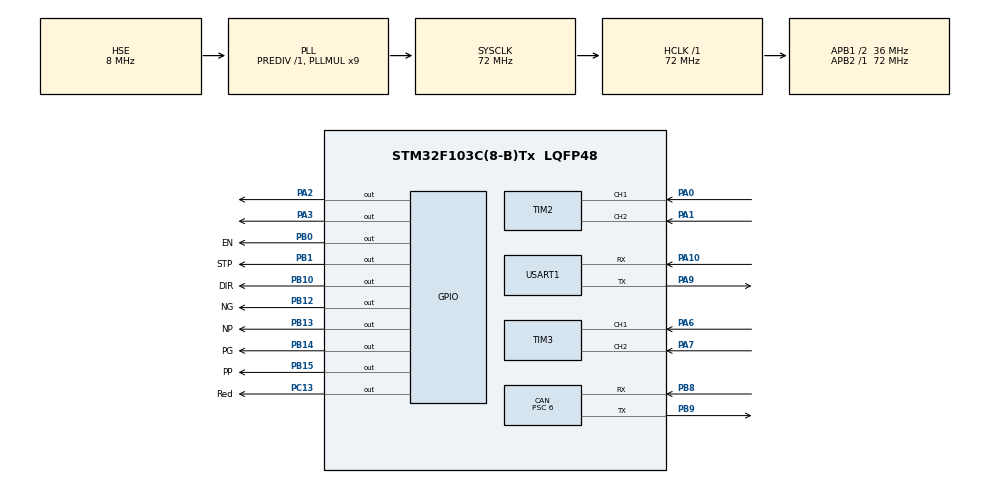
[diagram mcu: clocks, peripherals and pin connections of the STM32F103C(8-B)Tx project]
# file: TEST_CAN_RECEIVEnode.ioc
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CAN.BS1=CAN_BS1_2TQ
CAN.BS2=CAN_BS2_3TQ
CAN.CalculateBaudRate=999999
CAN.CalculateTimeBit=1000
CAN.CalculateTimeQuantum=166.66666666666669
CAN.NART=DISABLE
CAN.Prescaler=6
Mcu.Family=STM32F1
Mcu.Name=STM32F103C(8-B)Tx
Mcu.Package=LQFP48
NVIC.PriorityGroup=NVIC_PRIORITYGROUP_0
NVIC.TIM1_UP_IRQn=true\:0\:0\:false\:false\:true\:true\:true\:true
NVIC.TIM2_IRQn=true\:0\:0\:false\:false\:true\:true\:true\:true
NVIC.TIM3_IRQn=true\:0\:0\:false\:false\:true\:true\:true\:true
NVIC.USART1_IRQn=true\:0\:0\:false\:false\:true\:true\:true\:true
NVIC.USB_LP_CAN1_RX0_IRQn=true\:0\:0\:false\:false\:true\:true\:true\:true
PA0-WKUP.GPIO_PuPd=GPIO_PULLUP
PA0-WKUP.Signal=S_TIM2_CH1_ETR
PA1.GPIO_PuPd=GPIO_PULLUP
PA1.Signal=S_TIM2_CH2
PA10.Mode=Asynchronous
PA10.Signal=USART1_RX
PA13.Mode=Serial_Wire
PA13.Signal=SYS_JTMS-SWDIO
PA14.Mode=Serial_Wire
PA14.Signal=SYS_JTCK-SWCLK
PA2.Signal=GPIO_Output
PA3.Signal=GPIO_Output
PA6.GPIO_PuPd=GPIO_PULLUP
PA6.Signal=S_TIM3_CH1
PA7.GPIO_PuPd=GPIO_PULLUP
PA7.Signal=S_TIM3_CH2
PA9.Mode=Asynchronous
PA9.Signal=USART1_TX
PB0.GPIO_Label=EN
PB0.Signal=GPIO_Output
PB1.GPIO_Label=STP
PB1.Signal=GPIO_Output
PB10.GPIO_Label=DIR
PB10.Signal=GPIO_Output
PB12.GPIO_Label=NG
PB12.GPIO_Speed=GPIO_SPEED_FREQ_HIGH
PB12.PinState=GPIO_PIN_SET
PB12.Signal=GPIO_Output
PB13.GPIO_Label=NP
PB13.GPIO_Speed=GPIO_SPEED_FREQ_HIGH
PB13.PinState=GPIO_PIN_SET
PB13.Signal=GPIO_Output
PB14.GPIO_Label=PG
PB14.GPIO_Speed=GPIO_SPEED_FREQ_HIGH
PB14.PinState=GPIO_PIN_SET
PB14.Signal=GPIO_Output
PB15.GPIO_Label=PP
PB15.GPIO_Speed=GPIO_SPEED_FREQ_HIGH
PB15.PinState=GPIO_PIN_SET
PB15.Signal=GPIO_Output
PB8.Mode=CAN_Activate
PB8.Signal=CAN_RX
PB9.Mode=CAN_Activate
PB9.Signal=CAN_TX
PC13-TAMPER-RTC.GPIO_Label=Red
PC13-TAMPER-RTC.Signal=GPIO_Output
PC14-OSC32_IN.Mode=LSE-External-Oscillator
PC14-OSC32_IN.Signal=RCC_OSC32_IN
PC15-OSC32_OUT.Mode=LSE-External-Oscillator
PC15-OSC32_OUT.Signal=RCC_OSC32_OUT
PD0-OSC_IN.Mode=HSE-External-Oscillator
PD0-OSC_IN.Signal=RCC_OSC_IN
PD1-OSC_OUT.Mode=HSE-External-Oscillator
PD1-OSC_OUT.Signal=RCC_OSC_OUT
ProjectManager.HeapSize=0x200
ProjectManager.StackSize=0x400
ProjectManager.TargetToolchain=STM32CubeIDE
RCC.AHBFreq_Value=72000000
RCC.APB1CLKDivider=RCC_HCLK_DIV2
RCC.APB1Freq_Value=36000000
RCC.APB1TimFreq_Value=72000000
RCC.APB2Freq_Value=72000000
RCC.APB2TimFreq_Value=72000000
RCC.HCLKFreq_Value=72000000
RCC.PLLMUL=RCC_PLL_MUL9
RCC.PLLSourceVirtual=RCC_PLLSOURCE_HSE
RCC.SYSCLKFreq_VALUE=72000000
RCC.SYSCLKSource=RCC_SYSCLKSOURCE_PLLCLK
RCC.USBFreq_Value=72000000
SH.S_TIM2_CH1_ETR.0=TIM2_CH1,Encoder_Interface
SH.S_TIM2_CH2.0=TIM2_CH2,Encoder_Interface
SH.S_TIM3_CH1.0=TIM3_CH1,Encoder_Interface
SH.S_TIM3_CH2.0=TIM3_CH2,Encoder_Interface
TIM1.Period=999
TIM1.Prescaler=71
TIM2.AutoReloadPreload=TIM_AUTORELOAD_PRELOAD_DISABLE
TIM2.EncoderMode=TIM_ENCODERMODE_TI12
TIM2.IC1Polarity=TIM_ICPOLARITY_FALLING
TIM2.IC2Polarity=TIM_ICPOLARITY_FALLING
TIM2.TIM_MasterOutputTrigger=TIM_TRGO_ENABLE
TIM2.TIM_MasterSlaveMode=TIM_MASTERSLAVEMODE_ENABLE
TIM3.EncoderMode=TIM_ENCODERMODE_TI12
TIM3.IC1Polarity=TIM_ICPOLARITY_FALLING
TIM3.IC2Polarity=TIM_ICPOLARITY_FALLING
TIM4.Prescaler=71
USART1.VirtualMode=VM_ASYNC
VP_TIM1_VS_ClockSourceINT.Mode=Internal
VP_TIM4_VS_ClockSourceINT.Mode=Internal
board=custom

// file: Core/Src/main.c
/* USER CODE BEGIN Header */
/**
 ******************************************************************************
 * @file           : main.c
 * @brief          : Main program body
 ******************************************************************************
 * @attention
 *
 * Copyright (c) 2023 STMicroelectronics.
 * All rights reserved.
 *
 * This software is licensed under terms that can be found in the LICENSE file
 * in the root directory of this software component.
 * If no LICENSE file comes with this software, it is provided AS-IS.
 *
 ******************************************************************************
 */
/* USER CODE END Header */
#include "main.h"

/* USER CODE BEGIN Includes */
#include <stdio.h>
#include <stdbool.h>
#include <string.h>
#include <stdlib.h>
#include <math.h>
/* USER CODE END Includes */

/* USER CODE BEGIN PTD */

CAN_TxHeaderTypeDef TX_CAN_HEADER;
CAN_RxHeaderTypeDef RX_CAN_HEADER;
CAN_FilterTypeDef canfilterconfig;

//=============MODE
#define AC_SERVO 0
#define DC_MOTOR 1

bool Mode = DC_MOTOR;
//=============MOTOR
#define GearboxAC_DtoP 4000*1/360 //Manual setup
#define GearboxStep_DtoP 816/90 // gear box of step motor
#define PosToDeg 1/45.56424581005592 // convert position to angle

float previousAngle = 0; // Update angle
bool Run = false;

uint16_t count = 0; // for debug
//=============UART
#define TxBufferSize 4  //Transmit Data
#define RxBufferSize 10 //Receive Data Position

#define UART_OK 1
#define UART_NOT_OK 0

uint8_t TxDataUart[TxBufferSize];
uint8_t RxDataUart[RxBufferSize];
uint8_t countCallEncoderSTP = 0;
uint32_t position = 0; // for debug

int sign; // xet dau cho goc tu step encoder
int Angle; //debug
float Theta = 0; // giai ma goc tu encoder (debug)
float t_sethome = 0;

bool flag_stateUart = UART_OK;
bool flag_readUartData = 0;
//=============CAN

//uint8_t Data_Decode[6]; //du lieu send (debug)
uint8_t CAN_Data_Rx[8]; // du lieu nhan tu can
uint32_t TxMailBox;

float pulseEnd = 0; //luu xung cho lan tiep
bool Check_Data = 0; //kiem tra du lie

char Data_Saved[8]; //du lieu duoc luu vao sau khi nhan tu CAN
bool flag_send = false; // cho phep gui du lieu
bool flag_run = false;

//=============TIMER1
bool flag_timer1 = false;
bool flag_enable_send = false;

uint8_t countSampleTime = 0; // time for sampling
uint8_t countSendData = 0; // time for send data to CAN

//=============END=============

/* USER CODE END PTD */

/* USER CODE BEGIN PM */
volatile short ExternalPulse;
/* USER CODE END PM */

CAN_HandleTypeDef hcan;

TIM_HandleTypeDef htim1;
TIM_HandleTypeDef htim2;
TIM_HandleTypeDef htim3;
TIM_HandleTypeDef htim4;

UART_HandleTypeDef huart1;

void SystemClock_Config(void);
static void MX_GPIO_Init(void);
static void MX_TIM1_Init(void);
static void MX_TIM2_Init(void);
static void MX_TIM3_Init(void);
static void MX_TIM4_Init(void);
static void MX_CAN_Init(void);
static void MX_USART1_UART_Init(void);

/* USER CODE BEGIN 0 */
//=================INTERRUPT CAN RECEIVE MESSAGE (Checked)
void HAL_CAN_RxFifo0MsgPendingCallback(CAN_HandleTypeDef *hcan)
{
	if(HAL_CAN_GetRxMessage(hcan, CAN_RX_FIFO0, &RX_CAN_HEADER, CAN_Data_Rx) == HAL_OK)
	{
		HAL_GPIO_TogglePin(GPIOC, GPIO_PIN_13);
	}
}
/* USER CODE END 0 */

int main(void)
{

	/* MCU Configuration--------------------------------------------------------*/

	/* Reset of all peripherals, Initializes the Flash interface and the Systick. */
	HAL_Init();

	/* Configure the system clock */
	SystemClock_Config();

	/* Initialize all configured peripherals */
	MX_GPIO_Init();
	MX_TIM1_Init();
	MX_TIM2_Init();
	MX_TIM3_Init();
	MX_TIM4_Init();
	MX_CAN_Init();
	MX_USART1_UART_Init();
	/* USER CODE BEGIN 2 */

	//========CAN
	HAL_CAN_Start(&hcan);
	HAL_CAN_ActivateNotification(&hcan, CAN_IT_RX_FIFO0_MSG_PENDING); // Enable interrupts

	//========TIMER AND COUNTER
	HAL_TIM_Base_Start(&htim4);
	HAL_TIM_Base_Start_IT(&htim1);

	/* USER CODE END 2 */

	/* Infinite loop */
	while (1)
	{

		/* USER CODE BEGIN 3 */
		for(int i=0; i < CAN_Data_Rx[1]; i++)
		{
			HAL_GPIO_TogglePin(GPIOA, GPIO_PIN_2);
			HAL_GPIO_TogglePin(GPIOA, GPIO_PIN_3);
			HAL_Delay(CAN_Data_Rx[0]);
		}
		CAN_Data_Rx[0]=0;
		CAN_Data_Rx[1]=0;
	}
	/* USER CODE END 3 */
}

void SystemClock_Config(void)
{
	RCC_OscInitTypeDef RCC_OscInitStruct = {0};
	RCC_ClkInitTypeDef RCC_ClkInitStruct = {0};

	/** Initializes the RCC Oscillators according to the specified parameters
	 * in the RCC_OscInitTypeDef structure.
	 */
	RCC_OscInitStruct.OscillatorType = RCC_OSCILLATORTYPE_HSE;
	RCC_OscInitStruct.HSEState = RCC_HSE_ON;
	RCC_OscInitStruct.HSEPredivValue = RCC_HSE_PREDIV_DIV1;
	RCC_OscInitStruct.HSIState = RCC_HSI_ON;
	RCC_OscInitStruct.PLL.PLLState = RCC_PLL_ON;
	RCC_OscInitStruct.PLL.PLLSource = RCC_PLLSOURCE_HSE;
	RCC_OscInitStruct.PLL.PLLMUL = RCC_PLL_MUL9;
	if (HAL_RCC_OscConfig(&RCC_OscInitStruct) != HAL_OK)
	{
		Error_Handler();
	}

	/** Initializes the CPU, AHB and APB buses clocks
	 */
	RCC_ClkInitStruct.ClockType = RCC_CLOCKTYPE_HCLK|RCC_CLOCKTYPE_SYSCLK
			|RCC_CLOCKTYPE_PCLK1|RCC_CLOCKTYPE_PCLK2;
	RCC_ClkInitStruct.SYSCLKSource = RCC_SYSCLKSOURCE_PLLCLK;
	RCC_ClkInitStruct.AHBCLKDivider = RCC_SYSCLK_DIV1;
	RCC_ClkInitStruct.APB1CLKDivider = RCC_HCLK_DIV2;
	RCC_ClkInitStruct.APB2CLKDivider = RCC_HCLK_DIV1;

	if (HAL_RCC_ClockConfig(&RCC_ClkInitStruct, FLASH_LATENCY_2) != HAL_OK)
	{
		Error_Handler();
	}
}

static void MX_CAN_Init(void)
{

	hcan.Instance = CAN1;
	hcan.Init.Prescaler = 6;
	hcan.Init.Mode = CAN_MODE_NORMAL;
	hcan.Init.SyncJumpWidth = CAN_SJW_1TQ;
	hcan.Init.TimeSeg1 = CAN_BS1_2TQ;
	hcan.Init.TimeSeg2 = CAN_BS2_3TQ;
	hcan.Init.TimeTriggeredMode = DISABLE;
	hcan.Init.AutoBusOff = DISABLE;
	hcan.Init.AutoWakeUp = DISABLE;
	hcan.Init.AutoRetransmission = DISABLE;
	hcan.Init.ReceiveFifoLocked = DISABLE;
	hcan.Init.TransmitFifoPriority = DISABLE;
	if (HAL_CAN_Init(&hcan) != HAL_OK)
	{
		Error_Handler();
	}
	/* USER CODE BEGIN CAN_Init 2 */
	canfilterconfig.FilterActivation = CAN_FILTER_ENABLE;
	canfilterconfig.FilterBank = 1; // which filter bank to use from the assigned ones
	canfilterconfig.FilterFIFOAssignment = CAN_FILTER_FIFO0; //
	canfilterconfig.FilterIdHigh = 0x001 << 5;
	canfilterconfig.FilterIdLow = 0x000;
	canfilterconfig.FilterMaskIdHigh = 0xffe << 5;
	canfilterconfig.FilterMaskIdLow = 0x000;
	canfilterconfig.FilterMode = CAN_FILTERMODE_IDMASK;
	canfilterconfig.FilterScale = CAN_FILTERSCALE_32BIT;
	canfilterconfig.SlaveStartFilterBank = 1;

	if(HAL_CAN_ConfigFilter(&hcan, &canfilterconfig) != HAL_OK) // add
	{
		Error_Handler();
	}
	/* -----------------------------CAN Transmit and Interrrupts ----------------------------- */
	TX_CAN_HEADER.RTR= CAN_RTR_DATA; //Remote transmission request = Data frame
	TX_CAN_HEADER.IDE= CAN_ID_STD; 	 //Standard Id (11 bits for the identifier)
	TX_CAN_HEADER.DLC= 6;

	/* USER CODE END CAN_Init 2 */

}

static void MX_TIM1_Init(void)
{

	TIM_ClockConfigTypeDef sClockSourceConfig = {0};
	TIM_MasterConfigTypeDef sMasterConfig = {0};

	htim1.Instance = TIM1;
	htim1.Init.Prescaler = 71;
	htim1.Init.CounterMode = TIM_COUNTERMODE_UP;
	htim1.Init.Period = 999;
	htim1.Init.ClockDivision = TIM_CLOCKDIVISION_DIV1;
	htim1.Init.RepetitionCounter = 0;
	htim1.Init.AutoReloadPreload = TIM_AUTORELOAD_PRELOAD_DISABLE;
	if (HAL_TIM_Base_Init(&htim1) != HAL_OK)
	{
		Error_Handler();
	}
	sClockSourceConfig.ClockSource = TIM_CLOCKSOURCE_INTERNAL;
	if (HAL_TIM_ConfigClockSource(&htim1, &sClockSourceConfig) != HAL_OK)
	{
		Error_Handler();
	}
	sMasterConfig.MasterOutputTrigger = TIM_TRGO_RESET;
	sMasterConfig.MasterSlaveMode = TIM_MASTERSLAVEMODE_DISABLE;
	if (HAL_TIMEx_MasterConfigSynchronization(&htim1, &sMasterConfig) != HAL_OK)
	{
		Error_Handler();
	}

}

static void MX_TIM2_Init(void)
{

	TIM_Encoder_InitTypeDef sConfig = {0};
	TIM_MasterConfigTypeDef sMasterConfig = {0};

	htim2.Instance = TIM2;
	htim2.Init.Prescaler = 0;
	htim2.Init.CounterMode = TIM_COUNTERMODE_UP;
	htim2.Init.Period = 65535;
	htim2.Init.ClockDivision = TIM_CLOCKDIVISION_DIV1;
	htim2.Init.AutoReloadPreload = TIM_AUTORELOAD_PRELOAD_DISABLE;
	sConfig.EncoderMode = TIM_ENCODERMODE_TI12;
	sConfig.IC1Polarity = TIM_ICPOLARITY_FALLING;
	sConfig.IC1Selection = TIM_ICSELECTION_DIRECTTI;
	sConfig.IC1Prescaler = TIM_ICPSC_DIV1;
	sConfig.IC1Filter = 0;
	sConfig.IC2Polarity = TIM_ICPOLARITY_FALLING;
	sConfig.IC2Selection = TIM_ICSELECTION_DIRECTTI;
	sConfig.IC2Prescaler = TIM_ICPSC_DIV1;
	sConfig.IC2Filter = 0;
	if (HAL_TIM_Encoder_Init(&htim2, &sConfig) != HAL_OK)
	{
		Error_Handler();
	}
	sMasterConfig.MasterOutputTrigger = TIM_TRGO_ENABLE;
	sMasterConfig.MasterSlaveMode = TIM_MASTERSLAVEMODE_ENABLE;
	if (HAL_TIMEx_MasterConfigSynchronization(&htim2, &sMasterConfig) != HAL_OK)
	{
		Error_Handler();
	}

}

static void MX_TIM3_Init(void)
{

	TIM_Encoder_InitTypeDef sConfig = {0};
	TIM_MasterConfigTypeDef sMasterConfig = {0};

	htim3.Instance = TIM3;
	htim3.Init.Prescaler = 0;
	htim3.Init.CounterMode = TIM_COUNTERMODE_UP;
	htim3.Init.Period = 65535;
	htim3.Init.ClockDivision = TIM_CLOCKDIVISION_DIV1;
	htim3.Init.AutoReloadPreload = TIM_AUTORELOAD_PRELOAD_DISABLE;
	sConfig.EncoderMode = TIM_ENCODERMODE_TI12;
	sConfig.IC1Polarity = TIM_ICPOLARITY_FALLING;
	sConfig.IC1Selection = TIM_ICSELECTION_DIRECTTI;
	sConfig.IC1Prescaler = TIM_ICPSC_DIV1;
	sConfig.IC1Filter = 0;
	sConfig.IC2Polarity = TIM_ICPOLARITY_FALLING;
	sConfig.IC2Selection = TIM_ICSELECTION_DIRECTTI;
	sConfig.IC2Prescaler = TIM_ICPSC_DIV1;
	sConfig.IC2Filter = 0;
	if (HAL_TIM_Encoder_Init(&htim3, &sConfig) != HAL_OK)
	{
		Error_Handler();
	}
	sMasterConfig.MasterOutputTrigger = TIM_TRGO_RESET;
	sMasterConfig.MasterSlaveMode = TIM_MASTERSLAVEMODE_DISABLE;
	if (HAL_TIMEx_MasterConfigSynchronization(&htim3, &sMasterConfig) != HAL_OK)
	{
		Error_Handler();
	}

}

static void MX_TIM4_Init(void)
{

	TIM_ClockConfigTypeDef sClockSourceConfig = {0};
	TIM_MasterConfigTypeDef sMasterConfig = {0};

	htim4.Instance = TIM4;
	htim4.Init.Prescaler = 71;
	htim4.Init.CounterMode = TIM_COUNTERMODE_UP;
	htim4.Init.Period = 65535;
	htim4.Init.ClockDivision = TIM_CLOCKDIVISION_DIV1;
	htim4.Init.AutoReloadPreload = TIM_AUTORELOAD_PRELOAD_DISABLE;
	if (HAL_TIM_Base_Init(&htim4) != HAL_OK)
	{
		Error_Handler();
	}
	sClockSourceConfig.ClockSource = TIM_CLOCKSOURCE_INTERNAL;
	if (HAL_TIM_ConfigClockSource(&htim4, &sClockSourceConfig) != HAL_OK)
	{
		Error_Handler();
	}
	sMasterConfig.MasterOutputTrigger = TIM_TRGO_RESET;
	sMasterConfig.MasterSlaveMode = TIM_MASTERSLAVEMODE_DISABLE;
	if (HAL_TIMEx_MasterConfigSynchronization(&htim4, &sMasterConfig) != HAL_OK)
	{
		Error_Handler();
	}

}

static void MX_USART1_UART_Init(void)
{

	huart1.Instance = USART1;
	huart1.Init.BaudRate = 115200;
	huart1.Init.WordLength = UART_WORDLENGTH_8B;
	huart1.Init.StopBits = UART_STOPBITS_1;
	huart1.Init.Parity = UART_PARITY_NONE;
	huart1.Init.Mode = UART_MODE_TX_RX;
	huart1.Init.HwFlowCtl = UART_HWCONTROL_NONE;
	huart1.Init.OverSampling = UART_OVERSAMPLING_16;
	if (HAL_UART_Init(&huart1) != HAL_OK)
	{
		Error_Handler();
	}

}

static void MX_GPIO_Init(void)
{
	GPIO_InitTypeDef GPIO_InitStruct = {0};

	/* GPIO Ports Clock Enable */
	__HAL_RCC_GPIOC_CLK_ENABLE();
	__HAL_RCC_GPIOD_CLK_ENABLE();
	__HAL_RCC_GPIOA_CLK_ENABLE();
	__HAL_RCC_GPIOB_CLK_ENABLE();

	/*Configure GPIO pin Output Level */
	HAL_GPIO_WritePin(Red_GPIO_Port, Red_Pin, GPIO_PIN_RESET);

	/*Configure GPIO pin Output Level */
	HAL_GPIO_WritePin(GPIOA, GPIO_PIN_2|GPIO_PIN_3, GPIO_PIN_RESET);

	/*Configure GPIO pin Output Level */
	HAL_GPIO_WritePin(GPIOB, EN_Pin|STP_Pin|DIR_Pin, GPIO_PIN_RESET);

	/*Configure GPIO pin Output Level */
	HAL_GPIO_WritePin(GPIOB, NG_Pin|NP_Pin|PG_Pin|PP_Pin, GPIO_PIN_SET);

	/*Configure GPIO pin : Red_Pin */
	GPIO_InitStruct.Pin = Red_Pin;
	GPIO_InitStruct.Mode = GPIO_MODE_OUTPUT_PP;
	GPIO_InitStruct.Pull = GPIO_NOPULL;
	GPIO_InitStruct.Speed = GPIO_SPEED_FREQ_LOW;
	HAL_GPIO_Init(Red_GPIO_Port, &GPIO_InitStruct);

	/*Configure GPIO pins : PA2 PA3 */
	GPIO_InitStruct.Pin = GPIO_PIN_2|GPIO_PIN_3;
	GPIO_InitStruct.Mode = GPIO_MODE_OUTPUT_PP;
	GPIO_InitStruct.Pull = GPIO_NOPULL;
	GPIO_InitStruct.Speed = GPIO_SPEED_FREQ_LOW;
	HAL_GPIO_Init(GPIOA, &GPIO_InitStruct);

	/*Configure GPIO pins : EN_Pin STP_Pin DIR_Pin */
	GPIO_InitStruct.Pin = EN_Pin|STP_Pin|DIR_Pin;
	GPIO_InitStruct.Mode = GPIO_MODE_OUTPUT_PP;
	GPIO_InitStruct.Pull = GPIO_NOPULL;
	GPIO_InitStruct.Speed = GPIO_SPEED_FREQ_LOW;
	HAL_GPIO_Init(GPIOB, &GPIO_InitStruct);

	/*Configure GPIO pins : NG_Pin NP_Pin PG_Pin PP_Pin */
	GPIO_InitStruct.Pin = NG_Pin|NP_Pin|PG_Pin|PP_Pin;
	GPIO_InitStruct.Mode = GPIO_MODE_OUTPUT_PP;
	GPIO_InitStruct.Pull = GPIO_NOPULL;
	GPIO_InitStruct.Speed = GPIO_SPEED_FREQ_HIGH;
	HAL_GPIO_Init(GPIOB, &GPIO_InitStruct);

}

void Error_Handler(void)
{
	__disable_irq();
	while (1)
	{
	}
}
